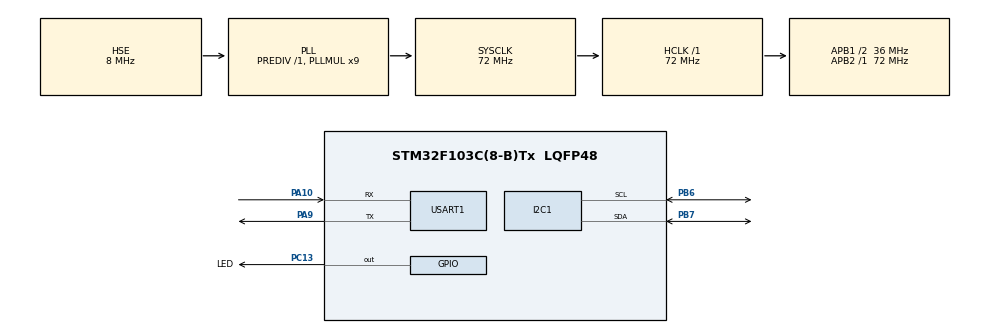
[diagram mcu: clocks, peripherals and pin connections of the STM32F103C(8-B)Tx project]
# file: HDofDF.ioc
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Mcu.Family=STM32F1
Mcu.Name=STM32F103C(8-B)Tx
Mcu.Package=LQFP48
NVIC.PriorityGroup=NVIC_PRIORITYGROUP_4
PA10.Mode=Asynchronous
PA10.Signal=USART1_RX
PA13.Mode=Serial_Wire
PA13.Signal=SYS_JTMS-SWDIO
PA14.Mode=Serial_Wire
PA14.Signal=SYS_JTCK-SWCLK
PA9.Mode=Asynchronous
PA9.Signal=USART1_TX
PB6.Mode=I2C
PB6.Signal=I2C1_SCL
PB7.Mode=I2C
PB7.Signal=I2C1_SDA
PC13-TAMPER-RTC.GPIO_Label=LED
PC13-TAMPER-RTC.GPIO_PuPd=GPIO_PULLDOWN
PC13-TAMPER-RTC.Signal=GPIO_Output
PD0-OSC_IN.Mode=HSE-External-Oscillator
PD0-OSC_IN.Signal=RCC_OSC_IN
PD1-OSC_OUT.Mode=HSE-External-Oscillator
PD1-OSC_OUT.Signal=RCC_OSC_OUT
ProjectManager.HeapSize=0x200
ProjectManager.StackSize=0x400
ProjectManager.TargetToolchain=MDK-ARM V5
RCC.AHBFreq_Value=72000000
RCC.APB1CLKDivider=RCC_HCLK_DIV2
RCC.APB1Freq_Value=36000000
RCC.APB1TimFreq_Value=72000000
RCC.APB2Freq_Value=72000000
RCC.APB2TimFreq_Value=72000000
RCC.HCLKFreq_Value=72000000
RCC.PLLMUL=RCC_PLL_MUL9
RCC.PLLSourceVirtual=RCC_PLLSOURCE_HSE
RCC.SYSCLKFreq_VALUE=72000000
RCC.SYSCLKSource=RCC_SYSCLKSOURCE_PLLCLK
RCC.USBFreq_Value=72000000
USART1.VirtualMode=VM_ASYNC
board=custom

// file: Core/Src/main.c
/* USER CODE BEGIN Header */
/**
 ******************************************************************************
 * @file           : main.c
 * @brief          : Main program body
 ******************************************************************************
 * @attention
 *
 * Copyright (c) 2024 STMicroelectronics.
 * All rights reserved.
 *
 * This software is licensed under terms that can be found in the LICENSE file
 * in the root directory of this software component.
 * If no LICENSE file comes with this software, it is provided AS-IS.
 *
 ******************************************************************************
 */
/* USER CODE END Header */
#include "main.h"
#include "i2c.h"
#include "usart.h"
#include "gpio.h"

/* USER CODE BEGIN Includes */
#include "SHT3X.h"
/* USER CODE END Includes */

void SystemClock_Config(void);

int main(void) {

    /* MCU
     * Configuration--------------------------------------------------------*/

    /* Reset of all peripherals, Initializes the Flash interface and the
     * Systick. */
    HAL_Init();

    /* Configure the system clock */
    SystemClock_Config();

    /* Initialize all configured peripherals */
    MX_GPIO_Init();
    MX_USART1_UART_Init();
    MX_I2C1_Init();

    /* Infinite loop */
    /* USER CODE BEGIN WHILE */
    uint8_t I2CRXBuffer[6] = {0};
    float Temperature = 0, Humidity = 0;
    uint8_t Status = 0;
    while (1) {
        HAL_GPIO_TogglePin(GPIOC, GPIO_PIN_13);
        if (SHT3X.OnceMode_GetData(I2CRXBuffer) == HAL_OK) {
            Status = SHT3X.Data_To_Float(I2CRXBuffer, &Temperature, &Humidity);
            if (!Status) {
                printf(
                    "Temprature: %.2f C, Humidity: %.2f %%\r\n", Temperature,
                    Humidity);
                HAL_Delay(1000);
            } else {
                printf("error: CRC check\r\n");
            }
        } else {
            printf("error: SHT3X.OnceMode_GetData()\r\n");
        }
        /* USER CODE END WHILE */
    }
}

void SystemClock_Config(void) {
    RCC_OscInitTypeDef RCC_OscInitStruct = {0};
    RCC_ClkInitTypeDef RCC_ClkInitStruct = {0};

    /** Initializes the RCC Oscillators according to the specified parameters
     * in the RCC_OscInitTypeDef structure.
     */
    RCC_OscInitStruct.OscillatorType = RCC_OSCILLATORTYPE_HSE;
    RCC_OscInitStruct.HSEState = RCC_HSE_ON;
    RCC_OscInitStruct.HSEPredivValue = RCC_HSE_PREDIV_DIV1;
    RCC_OscInitStruct.HSIState = RCC_HSI_ON;
    RCC_OscInitStruct.PLL.PLLState = RCC_PLL_ON;
    RCC_OscInitStruct.PLL.PLLSource = RCC_PLLSOURCE_HSE;
    RCC_OscInitStruct.PLL.PLLMUL = RCC_PLL_MUL9;
    if (HAL_RCC_OscConfig(&RCC_OscInitStruct) != HAL_OK) { Error_Handler(); }

    /** Initializes the CPU, AHB and APB buses clocks
     */
    RCC_ClkInitStruct.ClockType = RCC_CLOCKTYPE_HCLK | RCC_CLOCKTYPE_SYSCLK
                                  | RCC_CLOCKTYPE_PCLK1 | RCC_CLOCKTYPE_PCLK2;
    RCC_ClkInitStruct.SYSCLKSource = RCC_SYSCLKSOURCE_PLLCLK;
    RCC_ClkInitStruct.AHBCLKDivider = RCC_SYSCLK_DIV1;
    RCC_ClkInitStruct.APB1CLKDivider = RCC_HCLK_DIV2;
    RCC_ClkInitStruct.APB2CLKDivider = RCC_HCLK_DIV1;

    if (HAL_RCC_ClockConfig(&RCC_ClkInitStruct, FLASH_LATENCY_2) != HAL_OK) {
        Error_Handler();
    }
}

/* USER CODE BEGIN 4 */
void GetSHT3XData(float* temperature, float* humidity, _Bool* heater) {
}
/* USER CODE END 4 */

void Error_Handler(void) {
    /* USER CODE BEGIN Error_Handler_Debug */
    /* User can add his own implementation to report the HAL error return state
     */
    __disable_irq();
    while (1) {}
    /* USER CODE END Error_Handler_Debug */
}

#ifdef USE_FULL_ASSERT
/**
 * @brief  Reports the name of the source file and the source line number
 *         where the assert_param error has occurred.
 * @param  file: pointer to the source file name
 * @param  line: assert_param error line source number
 * @retval None
 */
void assert_failed(uint8_t* file, uint32_t line) {
    /* USER CODE BEGIN 6 */
    /* User can add his own implementation to report the file name and line
       number, ex: printf("Wrong parameters value: file %s on line %d\r\n",
       file, line) */
    /* USER CODE END 6 */
}
#endif /* USE_FULL_ASSERT */
